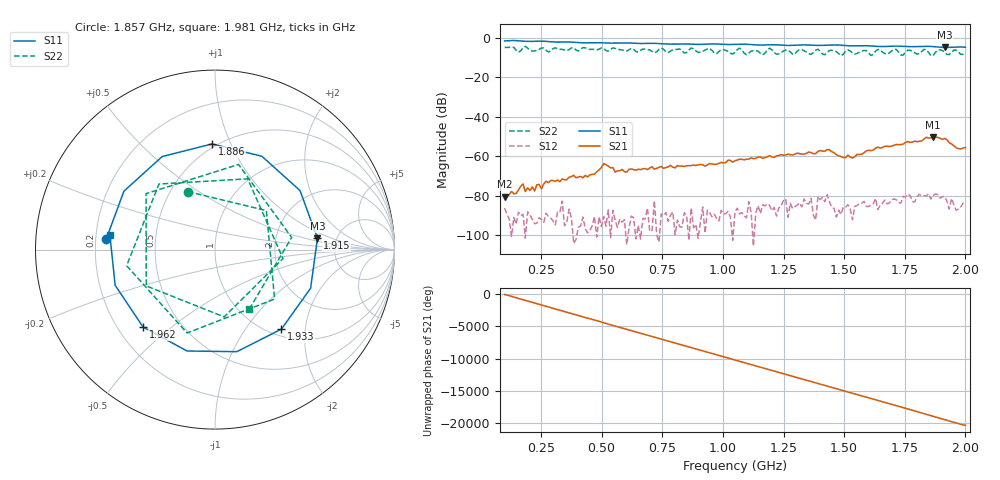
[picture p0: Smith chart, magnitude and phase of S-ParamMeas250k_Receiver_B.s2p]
!Keysight Technologies,N5242B,MY48420967,A.15.65.19
!Date: Saturday, February 04, 2023 15:00:32
!Correction: S11(C  1-Port  )
!S21(Off)
!S12(Off)
!S22(Off)
!S2P File: Measurements: S11, S21, S12, S22:
# Hz S  dB  R 50
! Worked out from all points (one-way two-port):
!   201 points, 100 MHz to 2 GHz, reference 50 ohm
!   highest |S21| = -50.26 dB at 1.867 GHz (marker M1); lowest = -80.5 dB at 100 MHz (marker M2)
!   lowest |S11| = -4.8 dB at 1.915 GHz (marker M3), VSWR 3.70, Z = 178 + j33.4 ohm
!   |S11| at or under -10 dB: nowhere
!   |S22| runs from -9.0 to -4.3 dB; largest |S21 - S12| = 0.0031
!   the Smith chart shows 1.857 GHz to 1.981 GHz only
!   S11 on the Smith chart (normalised r, x): 1.857 GHz: 0.24, +0.04; 1.886 GHz: 0.47, +0.85; 1.915 GHz: 3.56, +0.67; 1.933 GHz: 1.13, -1.49; 1.962 GHz: 0.30, -0.40; 1.981 GHz: 0.26, +0.06
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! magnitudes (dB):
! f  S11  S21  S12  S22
! 100 MHz  -1.5  -80.5  -86.3  -4.8
! 176 MHz  -1.6  -74.0  -89.5  -4.9
! 185.5 MHz  -1.7  -77.9  -101.5  -4.3
! 223.5 MHz  -1.7  -77.6  -94.3  -6.6
! 271 MHz  -1.7  -72.7  -88.9  -6.2
! 423 MHz  -2.5  -71.0  -90.8  -4.9
! 508.5 MHz  -2.5  -63.7  -90.6  -5.4
! 556 MHz  -2.6  -68.0  -92.6  -5.3
! 736.5 MHz  -2.9  -65.6  -103.5  -5.8
! 1.05 GHz  -3.3  -62.3  -88.1  -7.3
! 1.373 GHz  -3.7  -58.7  -89.7  -7.5
! 1.44 GHz  -3.6  -56.7  -83.0  -6.3
! 1.534 GHz  -4.0  -60.9  -92.2  -7.7
! 1.687 GHz  -4.2  -55.1  -83.7  -7.6
! 1.857 GHz  -4.3  -50.7  -81.7  -9.0
! 1.867 GHz  -4.4  -50.3  -80.0  -8.9
! 1.886 GHz  -4.6  -50.5  -79.6  -6.2
! 1.915 GHz  -4.8  -51.0  -80.4  -7.2
! 1.933 GHz  -4.8  -53.1  -86.8  -8.4
! 1.962 GHz  -4.6  -55.7  -87.4  -6.2
! 1.981 GHz  -4.6  -56.3  -85.7  -8.3
! 2 GHz  -4.7  -55.6  -82.8  -7.3
